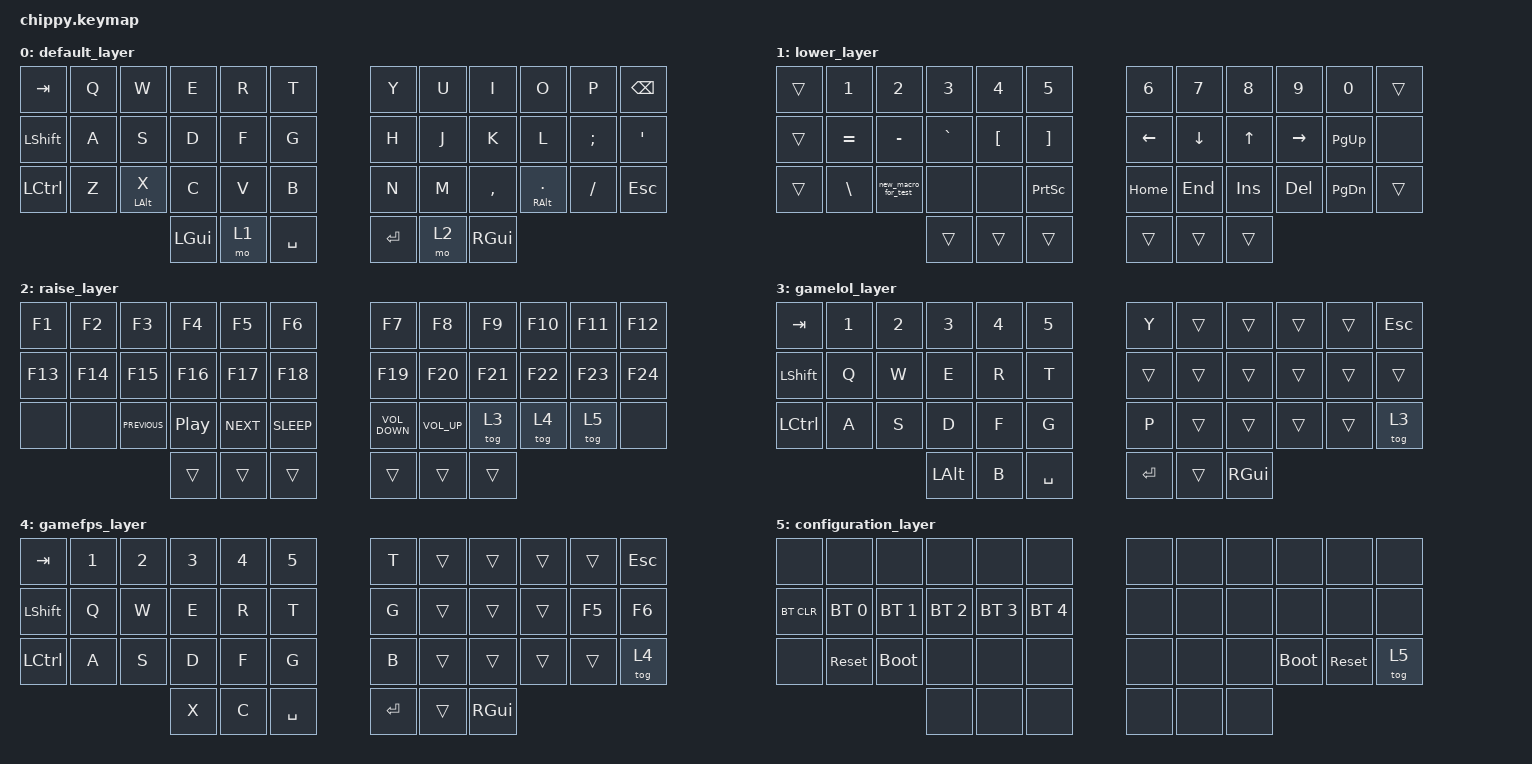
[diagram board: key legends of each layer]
/*
 * Copyright (c) 2020 The ZMK Contributors
 *
 * SPDX-License-Identifier: MIT
 */

#include <behaviors.dtsi>
#include <dt-bindings/zmk/bt.h>
#include <dt-bindings/zmk/keys.h>

&mt { tapping-term-ms = <400>; };

/ {
    combos {
        compatible = "zmk,combos";

        exclamation {
            bindings = <&kp EXCLAMATION>;
            key-positions = <1 13>;
        };

        at {
            bindings = <&kp LS(AT_SIGN)>;
            key-positions = <2 14>;
        };

        hash {
            bindings = <&kp HASH>;
            key-positions = <3 15>;
        };

        dollar {
            bindings = <&kp DOLLAR>;
            key-positions = <4 16>;
        };

        percent {
            bindings = <&kp PERCENT>;
            key-positions = <5 17>;
        };

        carret {
            bindings = <&kp CARET>;
            key-positions = <6 18>;
        };

        amps {
            bindings = <&kp AMPERSAND>;
            key-positions = <7 19>;
        };

        astrsk {
            bindings = <&kp ASTERISK>;
            key-positions = <8 20>;
        };

        left_parenth {
            bindings = <&kp LEFT_PARENTHESIS>;
            key-positions = <9 21>;
        };

        right_parenth {
            bindings = <&kp RIGHT_PARENTHESIS>;
            key-positions = <10 22>;
        };

        left_brace {
            bindings = <&kp LEFT_BRACE>;
            key-positions = <28 16>;
        };

        right_brace {
            bindings = <&kp RIGHT_BRACE>;
            key-positions = <29 17>;
        };

        grave {
            bindings = <&kp GRAVE>;
            key-positions = <27 15>;
        };

        minus {
            bindings = <&kp MINUS>;
            key-positions = <26 14>;
        };

        equal {
            bindings = <&kp EQUAL>;
            key-positions = <13 25>;
        };
    };

    macros {
        new_macro_for_test: new_macro_for_test {
            compatible = "zmk,behavior-macro";
            #binding-cells = <0>;
            bindings = <&kp E &kp X &kp I &kp T>;
            label = "NEW_MACRO_FOR_TEST";
        };
    };

    keymap {
        compatible = "zmk,keymap";

        default_layer {
            bindings = <
&kp TAB    &kp Q  &kp W           &kp E         &kp R  &kp T      &kp Y    &kp U  &kp I      &kp O                 &kp P     &kp BSPC
&kp LSHFT  &kp A  &kp S           &kp D         &kp F  &kp G      &kp H    &kp J  &kp K      &kp L                 &kp SEMI  &kp SQT
&kp LCTRL  &kp Z  &mt LEFT_ALT X  &kp C         &kp V  &kp B      &kp N    &kp M  &kp COMMA  &mt RIGHT_ALT PERIOD  &kp FSLH  &kp ESC
                                  &kp LEFT_GUI  &mo 1  &kp SPACE  &kp RET  &mo 2  &kp RGUI
            >;
        };

        lower_layer {
            bindings = <
&trans  &kp N1         &kp N2               &kp N3     &kp N4            &kp N5             &kp N6          &kp N7          &kp N8        &kp N9           &kp N0     &trans
&trans  &kp EQUAL      &kp MINUS            &kp GRAVE  &kp LEFT_BRACKET  &kp RIGHT_BRACKET  &kp LEFT_ARROW  &kp DOWN_ARROW  &kp UP_ARROW  &kp RIGHT_ARROW  &kp PG_UP  &none
&trans  &kp BACKSLASH  &new_macro_for_test  &none      &none             &kp PRINTSCREEN    &kp HOME        &kp END         &kp INSERT    &kp DEL          &kp PG_DN  &trans
                                            &trans     &trans            &trans             &trans          &trans          &trans
            >;
        };

        raise_layer {
            bindings = <
&kp F1   &kp F2   &kp F3          &kp F4            &kp F5      &kp F6       &kp F7             &kp F8           &kp F9   &kp F10  &kp F11  &kp F12
&kp F13  &kp F14  &kp F15         &kp F16           &kp F17     &kp F18      &kp F19            &kp F20          &kp F21  &kp F22  &kp F23  &kp F24
&none    &none    &kp C_PREVIOUS  &kp C_PLAY_PAUSE  &kp C_NEXT  &kp C_SLEEP  &kp C_VOLUME_DOWN  &kp C_VOLUME_UP  &tog 3   &tog 4   &tog 5   &none
                                  &trans            &trans      &trans       &trans             &trans           &trans
            >;
        };

        gamelol_layer {
            bindings = <
&kp TAB    &kp N1  &kp N2  &kp N3    &kp N4  &kp N5     &kp Y    &trans  &trans    &trans  &trans  &kp ESC
&kp LSHFT  &kp Q   &kp W   &kp E     &kp R   &kp T      &trans   &trans  &trans    &trans  &trans  &trans
&kp LCTRL  &kp A   &kp S   &kp D     &kp F   &kp G      &kp P    &trans  &trans    &trans  &trans  &tog 3
                           &kp LALT  &kp B   &kp SPACE  &kp RET  &trans  &kp RGUI
            >;
        };

        gamefps_layer {
            bindings = <
&kp TAB    &kp N1  &kp N2  &kp N3  &kp N4  &kp N5     &kp T    &trans  &trans    &trans  &trans  &kp ESC
&kp LSHFT  &kp Q   &kp W   &kp E   &kp R   &kp T      &kp G    &trans  &trans    &trans  &kp F5  &kp F6
&kp LCTRL  &kp A   &kp S   &kp D   &kp F   &kp G      &kp B    &trans  &trans    &trans  &trans  &tog 4
                           &kp X   &kp C   &kp SPACE  &kp RET  &trans  &kp RGUI
            >;
        };

        configuration_layer {
            bindings = <
&none       &none         &none         &none         &none         &none         &none  &none  &none  &none        &none       &none
&bt BT_CLR  &bt BT_SEL 0  &bt BT_SEL 1  &bt BT_SEL 2  &bt BT_SEL 3  &bt BT_SEL 4  &none  &none  &none  &none        &none       &none
&none       &sys_reset    &bootloader   &none         &none         &none         &none  &none  &none  &bootloader  &sys_reset  &tog 5
                                        &none         &none         &none         &none  &none  &none
            >;
        };
    };
};
